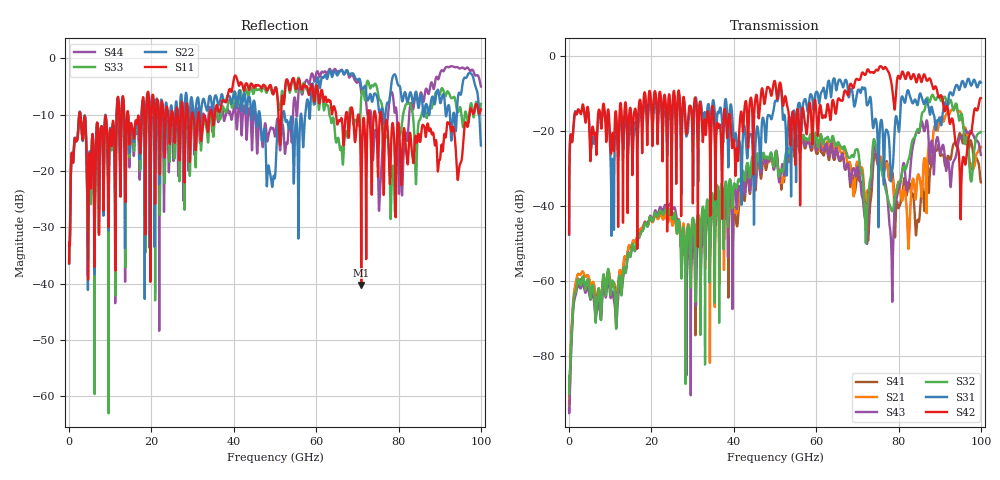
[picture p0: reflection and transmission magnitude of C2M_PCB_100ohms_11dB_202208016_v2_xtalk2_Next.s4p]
! Info: Touchstone file created by Circ.  Input file=Intel_C2M_200G_2p0in_202208016_staggered.circ
# Hz S RI R 50
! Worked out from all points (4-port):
!   10000 points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, 10 MHz to 100 GHz, reference 50 ohm
!   strongest paths, dB at 10 MHz, 25.01 GHz, 50.01 GHz, 75.01 GHz, 100 GHz:
!     S42: -47.5, -19.6, -6.9, -3.9, -11.3
!     S31: -47.8, -22.1, -12.2, -26.6, -7.1
!     S32: -90.3, -43.1, -26.9, -26.0, -20.3
!     S43: -94.2, -40.7, -27.8, -27.5, -26.4
!     S21: -92.8, -45.0, -27.2, -26.4, -24.4
!     S41: -94.3, -42.4, -28.0, -29.2, -33.8
!   lowest |S11| = -40.2 dB at 70.95 GHz (marker M1), VSWR 1.02, Z = 49.6 + j0.868 ohm
!   |S11| at or under -10 dB: 2.752 GHz to 11.58 GHz (8.833 GHz wide, 123 % of centre); 14.37 GHz to 17.66 GHz (3.283 GHz wide, 20.5 % of centre); 75.82 GHz to 97.21 GHz (21.38 GHz wide, 24.7 % of centre)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
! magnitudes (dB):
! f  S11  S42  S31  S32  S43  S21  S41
! 10 MHz  -36.3  -47.5  -47.8  -90.3  -94.2  -92.8  -94.3
! 22.18 GHz  -14.0  -10.0  -11.5  -41.2  -40.3  -42.1  -41.2
! 70.95 GHz  -40.2  -5.1  -9.3  -30.5  -36.2  -30.0  -33.6
! 78.34 GHz  -12.8  -7.7  -31.5  -41.3  -55.2  -32.5  -31.1
! 82.43 GHz  -16.6  -4.5  -9.4  -27.7  -33.6  -51.4  -34.6
! 95.2 GHz  -18.4  -37.0  -7.5  -15.5  -21.9  -15.4  -21.6
! 100 GHz  -9.1  -11.3  -7.1  -20.3  -26.4  -24.4  -33.8
